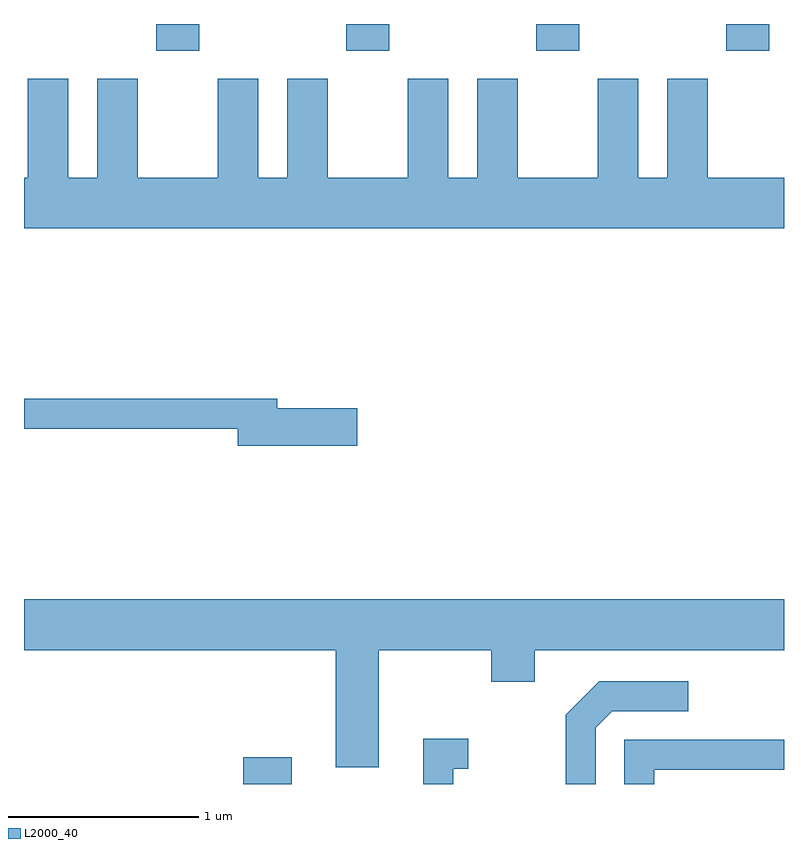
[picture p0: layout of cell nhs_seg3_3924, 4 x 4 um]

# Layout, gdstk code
import gdstk
lib = gdstk.Library(unit=1e-6, precision=1e-09)
def R(c, l, rs):  # rectangles x0, y0, x1, y1
    for r in rs: c.add(gdstk.rectangle(r[:2], r[2:], *l))
def A(c, l, x, y, w, h, nx, ny, dx, dy):  # array of equal rectangles
    R(c, l, [(x+i*dx, y+j*dy, x+i*dx+w, y+j*dy+h) for i in range(nx) for j in range(ny)])
def P(c, l, *ps):  # polygons
    for p in ps: c.add(gdstk.Polygon(p, *l))
L2000_40 = (2000, 40)

nhs_seg3_3924 = lib.new_cell('nhs_seg3_3924')
A(nhs_seg3_3924, L2000_40, 300.306, 1215.751, 0.228, 0.141, 4, 1, 1, 0)
R(nhs_seg3_3924, L2000_40, [(300.766,1211.892,301.019,1212.034)])
P(nhs_seg3_3924, L2000_40, [(303.611,1215.084),(303.209,1215.084),(303.209,1215.604),(302.996,1215.604),(302.996,1215.084),(302.844,1215.084),(302.844,1215.604),(302.631,1215.604),(302.631,1215.084),(302.209,1215.084),(302.209,1215.604),(301.996,1215.604),(301.996,1215.084),(301.844,1215.084),(301.844,1215.604),(301.631,1215.604),(301.631,1215.084),(301.209,1215.084),(301.209,1215.604),(300.996,1215.604),(300.996,1215.084),(300.844,1215.084),(300.844,1215.604),(300.631,1215.604),(300.631,1215.084),(300.209,1215.084),(300.209,1215.604),(299.996,1215.604),(299.996,1215.084),(299.844,1215.084),(299.844,1215.604),(299.631,1215.604),(299.631,1215.084),(299.611,1215.084),(299.611,1214.816),(303.611,1214.816)],
  [(301.364,1213.869),(300.944,1213.869),(300.944,1213.919),(299.611,1213.919),(299.611,1213.761),(300.736,1213.761),(300.736,1213.671),(301.364,1213.671)],
  [(301.479,1212.596),(302.071,1212.596),(302.071,1212.431),(302.299,1212.431),(302.299,1212.596),(303.611,1212.596),(303.611,1212.864),(299.611,1212.864),(299.611,1212.596),(301.251,1212.596),(301.251,1211.981),(301.479,1211.981)],
  [(302.619,1212.189),(302.707,1212.276),(303.108,1212.276),(303.108,1212.434),(302.639,1212.434),(302.461,1212.257),(302.461,1211.892),(302.619,1211.892)],
  [(301.869,1211.971),(301.948,1211.971),(301.948,1212.129),(301.711,1212.129),(301.711,1211.892),(301.869,1211.892)],
  [(302.929,1211.966),(303.611,1211.966),(303.611,1212.124),(302.771,1212.124),(302.771,1211.892),(302.929,1211.892)])

lib.write_gds('nhs_seg3_3924.gds')
